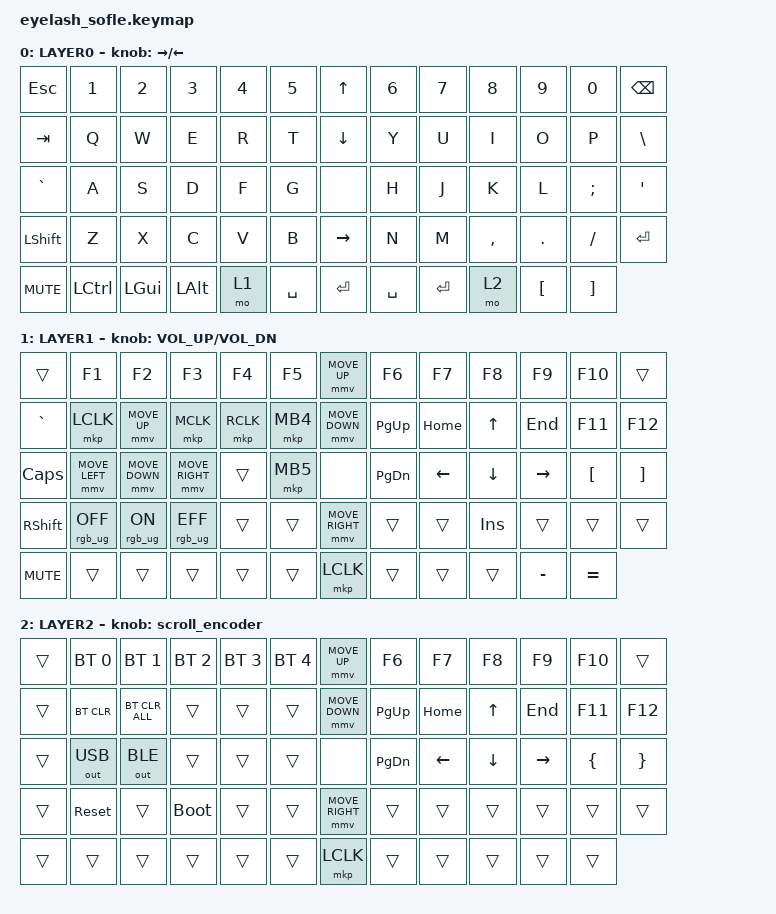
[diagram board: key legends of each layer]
#define ZMK_POINTING_DEFAULT_MOVE_VAL 1200  // 600
#define ZMK_POINTING_DEFAULT_SCRL_VAL 25   // 10

#include <input/processors.dtsi>
#include <zephyr/dt-bindings/input/input-event-codes.h>
#include <behaviors.dtsi>
#include <dt-bindings/zmk/bt.h>
#include <dt-bindings/zmk/keys.h>
#include <dt-bindings/zmk/outputs.h>
#include <dt-bindings/zmk/pointing.h>
#include <dt-bindings/zmk/rgb.h>

&mmv_input_listener { input-processors = <&zip_xy_scaler 2 1>; };

&msc_input_listener { input-processors = <&zip_scroll_scaler 2 1>; };

&msc {
    acceleration-exponent = <1>;      // 0
    time-to-max-speed-ms = <100>;       // 300
    delay-ms = <0>;                   // 0
};

&mmv {
    time-to-max-speed-ms = <500>;
    acceleration-exponent = <1>;
    trigger-period-ms = <16>;
};

&soft_off { hold-time-ms = <2000>; };

/ {
    scroll_encoder: scroll_encoder {
        compatible = "zmk,behavior-sensor-rotate";
        #sensor-binding-cells = <0>;
        bindings = <&msc SCRL_DOWN>, <&msc SCRL_UP>;

        tap-ms = <100>;
    };

    behaviors {
    };

    combos {
        compatible = "zmk,combos";

        softoff {
            bindings = <&soft_off>;
            key-positions = <14 28 40>;
        };
    };

    macros {
        SHIFT_MCLK: SHIFT_MCLK {
            compatible = "zmk,behavior-macro";
            #binding-cells = <0>;
            bindings =
                <&macro_press>,
                <&kp LEFT_SHIFT>,
                <&macro_press>,
                <&mkp MB3>,
                <&macro_pause_for_release>,
                <&macro_release>,
                <&kp LEFT_SHIFT &mkp MB3>;

            label = "SHIFT_MCLK";
        };
    };

    keymap {
        compatible = "zmk,keymap";

        layer0 {
            bindings = <
&kp ESC     &kp N1     &kp N2        &kp N3        &kp N4  &kp N5       &kp UP_ARROW     &kp N6     &kp N7     &kp N8     &kp N9            &kp N0             &kp BACKSPACE
&kp TAB     &kp Q      &kp W         &kp E         &kp R   &kp T        &kp DOWN_ARROW   &kp Y      &kp U      &kp I      &kp O             &kp P              &kp BSLH
&kp GRAVE   &kp A      &kp S         &kp D         &kp F   &kp G        &none            &kp H      &kp J      &kp K      &kp L             &kp SEMI           &kp APOS
&kp LSHFT   &kp Z      &kp X         &kp C         &kp V   &kp B        &kp RIGHT_ARROW  &kp N      &kp M      &kp COMMA  &kp DOT           &kp FSLH           &kp ENTER
&kp C_MUTE  &kp LCTRL  &kp LEFT_GUI  &kp LEFT_ALT  &mo 1   &kp SPACE    &kp ENTER        &kp SPACE  &kp ENTER  &mo 2      &kp LEFT_BRACKET  &kp RIGHT_BRACKET
            >;

            sensor-bindings = <&inc_dec_kp RIGHT_ARROW LEFT_ARROW>;
            display-name = "LAYER0";
        };

        layer_1 {
            bindings = <
&trans           &kp F1           &kp F2          &kp F3           &kp F4     &kp F5      &mmv MOVE_UP     &kp F6     &kp F7    &kp F8      &kp F9     &kp F10           &trans
&kp GRAVE        &mkp LCLK        &mmv MOVE_UP    &mkp MCLK        &mkp RCLK  &mkp MB4    &mmv MOVE_DOWN   &kp PG_UP  &kp HOME  &kp UP      &kp END    &kp F11           &kp F12
&kp CAPSLOCK     &mmv MOVE_LEFT   &mmv MOVE_DOWN  &mmv MOVE_RIGHT  &trans     &mkp MB5    &none            &kp PG_DN  &kp LEFT  &kp DOWN    &kp RIGHT  &kp LEFT_BRACKET  &kp RIGHT_BRACKET
&kp RIGHT_SHIFT  &rgb_ug RGB_OFF  &rgb_ug RGB_ON  &rgb_ug RGB_EFF  &trans     &trans      &mmv MOVE_RIGHT  &trans     &trans    &kp INSERT  &trans     &trans            &trans
&kp C_MUTE       &trans           &trans          &trans           &trans     &trans      &mkp LCLK        &trans     &trans    &trans      &kp MINUS  &kp EQUAL
            >;

            sensor-bindings = <&inc_dec_kp C_VOLUME_UP C_VOL_DN>;
            display-name = "LAYER1";
        };

        layer_2 {
            bindings = <
&trans  &bt BT_SEL 0  &bt BT_SEL 1    &bt BT_SEL 2  &bt BT_SEL 3  &bt BT_SEL 4    &mmv MOVE_UP     &kp F6         &kp F7          &kp F8          &kp F9           &kp F10   &trans
&trans  &bt BT_CLR    &bt BT_CLR_ALL  &trans        &trans        &trans          &mmv MOVE_DOWN   &kp PAGE_UP    &kp HOME        &kp UP_ARROW    &kp END          &kp F11   &kp F12
&trans  &out OUT_USB  &out OUT_BLE    &trans        &trans        &trans          &none            &kp PAGE_DOWN  &kp LEFT_ARROW  &kp DOWN_ARROW  &kp RIGHT_ARROW  &kp LBRC  &kp RBRC
&trans  &sys_reset    &trans          &bootloader   &trans        &trans          &mmv MOVE_RIGHT  &trans         &trans          &trans          &trans           &trans    &trans
&trans  &trans        &trans          &trans        &trans        &trans          &mkp LCLK        &trans         &trans          &trans          &trans           &trans
            >;

            display-name = "LAYER2";
            sensor-bindings = <&scroll_encoder>;
        };
    };
};
